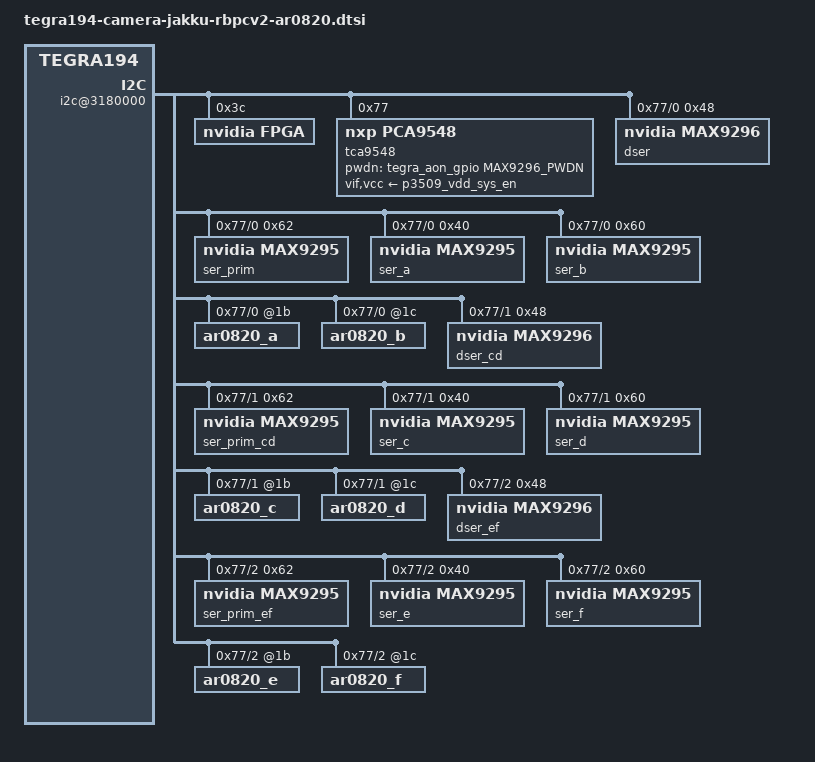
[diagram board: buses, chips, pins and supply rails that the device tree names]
/*
 * Copyright (c) 2020, Leopard Imaging Inc.  All rights reserved.
 * Copyright (c) 2018-2019, NVIDIA CORPORATION.  All rights reserved.
 *
 * This program is free software; you can redistribute it and/or modify
 * it under the terms of the GNU General Public License as published by
 * the Free Software Foundation; either version 2 of the License, or
 * (at your option) any later version.
 *
 * This program is distributed in the hope that it will be useful, but WITHOUT
 * ANY WARRANTY; without even the implied warranty of MERCHANTABILITY or
 * FITNESS FOR A PARTICULAR PURPOSE.  See the GNU General Public License for
 * more details.
 *
 * You should have received a copy of the GNU General Public License
 * along with this program.  If not, see <http://www.gnu.org/licenses/>.
 */
#include "tegra194-camera-rbpcv2-ar0820.dtsi"

#define CAM0_RST_L	TEGRA194_MAIN_GPIO(P, 4)
#define MAX9296_PWDN TEGRA194_AON_GPIO(CC, 0)

#define CAMERA_I2C_MUX_BUS(x) (0x1E + x)

/* camera control gpio definitions */

/ {
	i2c@3180000 {
		fpga@3c {
			compatible = "nvidia,fpga";
			reg = <0x3c>;
		};

		tca9548@77 {
			compatible = "nxp,pca9548";
			reg = <0x77>;
			#address-cells = <1>;
			#size-cells = <0>;
			skip_mux_detect = "yes";
			vif-supply = <&p3509_vdd_sys_en>;
			vcc-supply = <&p3509_vdd_sys_en>;
			vcc_lp = "vif";
			force_bus_start = <CAMERA_I2C_MUX_BUS(0)>;
			pwdn-gpios = <&tegra_aon_gpio MAX9296_PWDN GPIO_ACTIVE_HIGH>;

			i2c@0 {
				reg = <0>;
				i2c-mux,deselect-on-exit;
				#address-cells = <1>;
				#size-cells = <0>;

				dser: max9296@48 {
					compatible = "nvidia,max9296";
					reg = <0x48>;
					csi-mode = "2x4";
					max-src = <2>;
					// reset-gpios = <&tegra_main_gpio CAM0_RST_L GPIO_ACTIVE_HIGH>;
				};
				ser_prim: max9295_prim@62 {
					compatible = "nvidia,max9295";
					reg = <0x62>;
					is-prim-ser;
				};
				ser_a: max9295_a@40 {
					compatible = "nvidia,max9295";
					reg = <0x40>;
					nvidia,gmsl-prim-ser-device = <&ser_prim>;
					nvidia,gmsl-dser-device = <&dser>;
				};
				ser_b: max9295_b@60 {
					compatible = "nvidia,max9295";
					reg = <0x60>;
					nvidia,gmsl-prim-ser-device = <&ser_prim>;
					nvidia,gmsl-dser-device = <&dser>;
				};
				ar0820_a@1b {
					def-addr = <0x10>;
					/* Define any required hw resources needed by driver */
					/* ie. clocks, io pins, power sources */
					clocks = <&bpmp_clks TEGRA194_CLK_EXTPERIPH1>,
							<&bpmp_clks TEGRA194_CLK_PLLP_OUT0>;
					clock-names = "extperiph1", "pllp_grtba";
					mclk = "extperiph1";
					nvidia,gmsl-ser-device = <&ser_a>;
					nvidia,gmsl-dser-device = <&dser>;
				};
				ar0820_b@1c {
					def-addr = <0x10>;
					/* Define any required hw resources needed by driver */
					/* ie. clocks, io pins, power sources */
					clocks = <&bpmp_clks TEGRA194_CLK_EXTPERIPH1>,
							<&bpmp_clks TEGRA194_CLK_PLLP_OUT0>;
					clock-names = "extperiph1", "pllp_grtba";
					mclk = "extperiph1";
					nvidia,gmsl-ser-device = <&ser_b>;
					nvidia,gmsl-dser-device = <&dser>;
				};
			};

			i2c@1 {
				reg = <1>;
				i2c-mux,deselect-on-exit;
				#address-cells = <1>;
				#size-cells = <0>;

				dser_cd: max9296@48 {
					compatible = "nvidia,max9296";
					reg = <0x48>;
					csi-mode = "2x4";
					max-src = <2>;
					// reset-gpios = <&tegra_main_gpio CAM0_RST_L GPIO_ACTIVE_HIGH>;
				};
				ser_prim_cd: max9295_prim@62 {
					compatible = "nvidia,max9295";
					reg = <0x62>;
					is-prim-ser;
				};
				ser_c: max9295_c@40 {
					compatible = "nvidia,max9295";
					reg = <0x40>;
					nvidia,gmsl-prim-ser-device = <&ser_prim_cd>;
					nvidia,gmsl-dser-device = <&dser_cd>;
				};
				ser_d: max9295_d@60 {
					compatible = "nvidia,max9295";
					reg = <0x60>;
					nvidia,gmsl-prim-ser-device = <&ser_prim_cd>;
					nvidia,gmsl-dser-device = <&dser_cd>;
				};
				ar0820_c@1b {
					def-addr = <0x10>;
					/* Define any required hw resources needed by driver */
					/* ie. clocks, io pins, power sources */
					clocks = <&bpmp_clks TEGRA194_CLK_EXTPERIPH1>,
							<&bpmp_clks TEGRA194_CLK_PLLP_OUT0>;
					clock-names = "extperiph1", "pllp_grtba";
					mclk = "extperiph1";
					nvidia,gmsl-ser-device = <&ser_c>;
					nvidia,gmsl-dser-device = <&dser_cd>;
				};
				ar0820_d@1c {
					def-addr = <0x10>;
					/* Define any required hw resources needed by driver */
					/* ie. clocks, io pins, power sources */
					clocks = <&bpmp_clks TEGRA194_CLK_EXTPERIPH1>,
							<&bpmp_clks TEGRA194_CLK_PLLP_OUT0>;
					clock-names = "extperiph1", "pllp_grtba";
					mclk = "extperiph1";
					nvidia,gmsl-ser-device = <&ser_d>;
					nvidia,gmsl-dser-device = <&dser_cd>;
				};
			};

			i2c@2 {
				reg = <2>;
				i2c-mux,deselect-on-exit;
				#address-cells = <1>;
				#size-cells = <0>;

				dser_ef: max9296@48 {
					compatible = "nvidia,max9296";
					reg = <0x48>;
					csi-mode = "2x4";
					max-src = <2>;
					// reset-gpios = <&tegra_main_gpio CAM0_RST_L GPIO_ACTIVE_HIGH>;
				};
				ser_prim_ef: max9295_prim@62 {
					compatible = "nvidia,max9295";
					reg = <0x62>;
					is-prim-ser;
				};
				ser_e: max9295_e@40 {
					compatible = "nvidia,max9295";
					reg = <0x40>;
					nvidia,gmsl-prim-ser-device = <&ser_prim_ef>;
					nvidia,gmsl-dser-device = <&dser_ef>;
				};
				ser_f: max9295_f@60 {
					compatible = "nvidia,max9295";
					reg = <0x60>;
					nvidia,gmsl-prim-ser-device = <&ser_prim_ef>;
					nvidia,gmsl-dser-device = <&dser_ef>;
				};
				ar0820_e@1b {
					def-addr = <0x10>;
					/* Define any required hw resources needed by driver */
					/* ie. clocks, io pins, power sources */
					clocks = <&bpmp_clks TEGRA194_CLK_EXTPERIPH1>,
							<&bpmp_clks TEGRA194_CLK_PLLP_OUT0>;
					clock-names = "extperiph1", "pllp_grtba";
					mclk = "extperiph1";
					nvidia,gmsl-ser-device = <&ser_e>;
					nvidia,gmsl-dser-device = <&dser_ef>;
				};
				ar0820_f@1c {
					def-addr = <0x10>;
					/* Define any required hw resources needed by driver */
					/* ie. clocks, io pins, power sources */
					clocks = <&bpmp_clks TEGRA194_CLK_EXTPERIPH1>,
							<&bpmp_clks TEGRA194_CLK_PLLP_OUT0>;
					clock-names = "extperiph1", "pllp_grtba";
					mclk = "extperiph1";
					nvidia,gmsl-ser-device = <&ser_f>;
					nvidia,gmsl-dser-device = <&dser_ef>;
				};
			};
		};
	};
};
